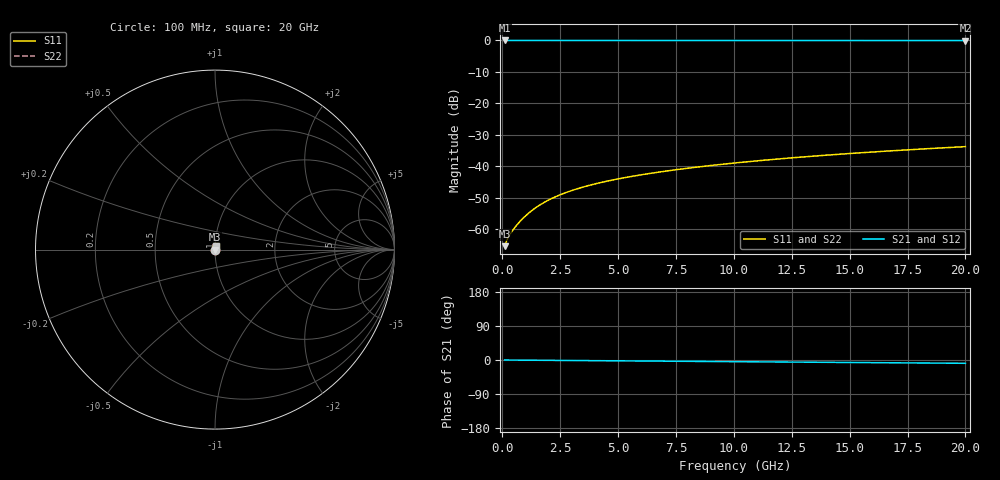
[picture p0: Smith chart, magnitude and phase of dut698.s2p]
! Touchstone file exported from HFSS 2026.1.0
!  File:  C:/ffzhzh/LocalFiles/Ansys_Project_Files/temp_train_BSMRDL_698_1783017820_4048.aedt
!  Generated:  02:44:57 AM Jul  3, 2026
!  Design:  BSMRDL
!  Project:  temp_train_BSMRDL_698_1783017820_4048
! Variables:
!  h_bsmrdl = 5.97um
!  h_ox = 20um
!  h_rdl = 5um
!  h_sub = 80um
!  h_tmrdl = 5um
!  h_tsv = 80um
!  h_via = 3um
!  l_bsmrdl = 138.75um
!  l_sub = 538.75um
!  l_tmrdl = 200um
!  m_sub = 200um
!  pitch = 33.77um
!  r_tsv = 6um
!  s_tmrdl = 10um
!  w_bsmrdl = 25.82um
!  w_sub = 500um
!  w_tmrdl = 12um
!  x_tsv_center1 = 206um
!  x_tsv_center2 = 370.57um
!  x_tsv_center3 = 582.57um
!  x_tsv_center4 = 747.14um
!  x_tsv_center5 = 959.14um
!  x_tsv_center6 = 1123.71um
# GHz S MA R 50.000000
! Terminal data exported
! Port[1] = BSM_RDL1_1_T1
! Port[2] = BSM_RDL1_1_T2
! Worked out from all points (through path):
!   200 points, 100 MHz to 20 GHz, reference 50 ohm
!   highest |S21| = 0.00 dB at 100 MHz (marker M1); lowest = 0.0 dB at 20 GHz (marker M2)
!   group delay of S21, straight-line fit = 1.2 ps
!   lowest |S11| = -65.4 dB at 100 MHz (marker M3), VSWR 1.00, Z = 50 + j0.0228 ohm
!   |S11| at or under -10 dB: start of sweep to end of sweep
!   |S22| runs from -65.4 to -33.8 dB; largest |S21 - S12| = 6.3e-15
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0.1  0.0005357 25.2  0.9995 -0.1  0.9995 -0.1  0.0005357 25.2
! Gamma 0 0 0 0
! Port Impedance 50 0 50 0
0.2  0.0006758 35.2  0.9994 -0.1  0.9994 -0.1  0.0006758 35.2
0.3  0.0007932 41.1  0.9994 -0.1  0.9994 -0.1  0.0007932 41.1
0.5  0.001013 50.3  0.9994 -0.2  0.9994 -0.2  0.001013 50.3
0.7  0.001247 56.7  0.9993 -0.3  0.9993 -0.3  0.001247 56.7
0.9  0.001494 61.1  0.9993 -0.4  0.9993 -0.4  0.001494 61.1
1.1  0.001748 64.2  0.9992 -0.5  0.9992 -0.5  0.001748 64.2
1.3  0.002006 66.3  0.9992 -0.6  0.9992 -0.6  0.002006 66.3
1.7  0.00252 68.8  0.9991 -0.8  0.9991 -0.8  0.00252 68.8
2.2  0.00315 70.4  0.999 -1.0  0.999 -1.0  0.00315 70.4
2.8  0.003874 71.2  0.9988 -1.3  0.9988 -1.3  0.003874 71.2
3.5  0.004678 71.7  0.9986 -1.6  0.9986 -1.6  0.004678 71.7
4.2  0.005445 71.9  0.9985 -1.9  0.9985 -1.9  0.005445 71.9
4.9  0.006184 72.0  0.9983 -2.2  0.9983 -2.2  0.006184 72.0
5.8  0.007107 72.2  0.9981 -2.6  0.9981 -2.6  0.007107 72.2
6.8  0.008109 72.4  0.9979 -3.0  0.9979 -3.0  0.008109 72.4
8.3  0.009582 72.5  0.9977 -3.7  0.9977 -3.7  0.009581 72.5
10.1  0.01132 72.6  0.9974 -4.4  0.9974 -4.4  0.01132 72.6
11.7  0.01284 72.5  0.9972 -5.1  0.9972 -5.1  0.01284 72.5
13.4  0.01444 72.3  0.9969 -5.9  0.9969 -5.9  0.01444 72.3
16.7  0.01749 71.7  0.9965 -7.3  0.9965 -7.3  0.01749 71.7
20  0.02049 70.9  0.9961 -8.7  0.9961 -8.7  0.02049 71.0
